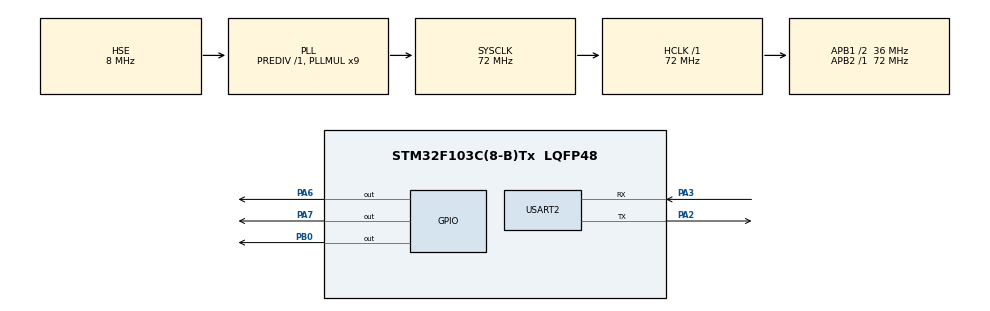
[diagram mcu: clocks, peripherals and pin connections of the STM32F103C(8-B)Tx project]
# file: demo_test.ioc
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Dma.Request0=USART2_RX
Dma.Request1=USART2_TX
Dma.USART2_RX.0.Direction=DMA_PERIPH_TO_MEMORY
Dma.USART2_RX.0.Instance=DMA1_Channel6
Dma.USART2_RX.0.MemDataAlignment=DMA_MDATAALIGN_BYTE
Dma.USART2_RX.0.MemInc=DMA_MINC_ENABLE
Dma.USART2_RX.0.Mode=DMA_NORMAL
Dma.USART2_RX.0.PeriphDataAlignment=DMA_PDATAALIGN_BYTE
Dma.USART2_RX.0.PeriphInc=DMA_PINC_DISABLE
Dma.USART2_RX.0.Priority=DMA_PRIORITY_LOW
Dma.USART2_TX.1.Direction=DMA_MEMORY_TO_PERIPH
Dma.USART2_TX.1.Instance=DMA1_Channel7
Dma.USART2_TX.1.MemDataAlignment=DMA_MDATAALIGN_BYTE
Dma.USART2_TX.1.MemInc=DMA_MINC_ENABLE
Dma.USART2_TX.1.Mode=DMA_NORMAL
Dma.USART2_TX.1.PeriphDataAlignment=DMA_PDATAALIGN_BYTE
Dma.USART2_TX.1.PeriphInc=DMA_PINC_DISABLE
Dma.USART2_TX.1.Priority=DMA_PRIORITY_LOW
Mcu.Family=STM32F1
Mcu.Name=STM32F103C(8-B)Tx
Mcu.Package=LQFP48
NVIC.DMA1_Channel6_IRQn=true\:0\:0\:false\:false\:true\:false\:true\:true
NVIC.DMA1_Channel7_IRQn=true\:0\:0\:false\:false\:true\:false\:true\:true
NVIC.PriorityGroup=NVIC_PRIORITYGROUP_4
NVIC.USART2_IRQn=true\:0\:0\:false\:false\:true\:false\:true\:true
PA13.Mode=Serial_Wire
PA13.Signal=SYS_JTMS-SWDIO
PA14.Mode=Serial_Wire
PA14.Signal=SYS_JTCK-SWCLK
PA2.Mode=Asynchronous
PA2.Signal=USART2_TX
PA3.Mode=Asynchronous
PA3.Signal=USART2_RX
PA6.Signal=GPIO_Output
PA7.Signal=GPIO_Output
PB0.Signal=GPIO_Output
PD0-OSC_IN.Mode=HSE-External-Oscillator
PD0-OSC_IN.Signal=RCC_OSC_IN
PD1-OSC_OUT.Mode=HSE-External-Oscillator
PD1-OSC_OUT.Signal=RCC_OSC_OUT
ProjectManager.HeapSize=0x200
ProjectManager.StackSize=0x400
ProjectManager.TargetToolchain=MDK-ARM V5.32
RCC.AHBFreq_Value=72000000
RCC.APB1CLKDivider=RCC_HCLK_DIV2
RCC.APB1Freq_Value=36000000
RCC.APB1TimFreq_Value=72000000
RCC.APB2Freq_Value=72000000
RCC.APB2TimFreq_Value=72000000
RCC.HCLKFreq_Value=72000000
RCC.PLLMUL=RCC_PLL_MUL9
RCC.PLLSourceVirtual=RCC_PLLSOURCE_HSE
RCC.SYSCLKFreq_VALUE=72000000
RCC.SYSCLKSource=RCC_SYSCLKSOURCE_PLLCLK
RCC.USBFreq_Value=72000000
USART2.VirtualMode=VM_ASYNC
board=custom

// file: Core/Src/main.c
/* USER CODE BEGIN Header */
/**
  ******************************************************************************
  * @file           : main.c
  * @brief          : Main program body
  ******************************************************************************
  * @attention
  *
  * Copyright (c) 2025 STMicroelectronics.
  * All rights reserved.
  *
  * This software is licensed under terms that can be found in the LICENSE file
  * in the root directory of this software component.
  * If no LICENSE file comes with this software, it is provided AS-IS.
  *
  ******************************************************************************
  */
/* USER CODE END Header */
#include "main.h"
#include "dma.h"
#include "usart.h"
#include "gpio.h"

/* USER CODE BEGIN Includes */
#include "stdio.h"
#include "string.h"
/* USER CODE END Includes */

void SystemClock_Config(void);
/* USER CODE BEGIN PFP */
//uint8_t receiveData[2];
uint8_t receiveData[50];
/* USER CODE END PFP */

/* USER CODE BEGIN 0 */

void HAL_UART_RxCpltCallback(UART_HandleTypeDef *huart)
{
    if(huart == &huart2)
    {
        // �ش����յ�������
        HAL_UART_Transmit_DMA(&huart2, receiveData,sizeof(receiveData));

        GPIO_PinState state = GPIO_PIN_SET;
      for(int i = 0; i < 6; i += 2)
        {
            char color = receiveData[i];     // 颜色字符: R, B, G
            char state = receiveData[i+1];   // 状态字符: 0或1

            GPIO_PinState pinState = (state == '1') ? GPIO_PIN_SET : GPIO_PIN_RESET;

            switch(color)
            {
                case 'R':
                    HAL_GPIO_WritePin(GPIOA, GPIO_PIN_6, pinState);
                    break;
                case 'B':
                    HAL_GPIO_WritePin(GPIOA, GPIO_PIN_7, pinState);
                    break;
                case 'G':
                    HAL_GPIO_WritePin(GPIOB, GPIO_PIN_0, pinState);
                    break;
                default:
                    // 无效的颜色字符，忽略
                    break;
            }
        }

        // ��������DMA����
       HAL_UART_Receive_DMA(&huart2, receiveData, sizeof(receiveData));
        __HAL_DMA_DISABLE_IT(&hdma_usart2_rx, DMA_IT_HT);
    }
}
/* USER CODE END 0 */

int main(void)
{

  /* MCU Configuration--------------------------------------------------------*/

  /* Reset of all peripherals, Initializes the Flash interface and the Systick. */
  HAL_Init();

  /* Configure the system clock */
  SystemClock_Config();

  /* Initialize all configured peripherals */
  MX_GPIO_Init();
  MX_DMA_Init();
  MX_USART2_UART_Init();
  /* USER CODE BEGIN 2 */
 //HAL_UART_Receive_DMA(&huart2,receiveData,2);
 HAL_UART_Receive_DMA(&huart2,receiveData,sizeof(receiveData));
 __HAL_DMA_DISABLE_IT(&hdma_usart2_rx,DMA_IT_HT);
  /* USER CODE END 2 */

  /* Infinite loop */
  while (1)
  {

  }
}

void SystemClock_Config(void)
{
  RCC_OscInitTypeDef RCC_OscInitStruct = {0};
  RCC_ClkInitTypeDef RCC_ClkInitStruct = {0};

  /** Initializes the RCC Oscillators according to the specified parameters
  * in the RCC_OscInitTypeDef structure.
  */
  RCC_OscInitStruct.OscillatorType = RCC_OSCILLATORTYPE_HSE;
  RCC_OscInitStruct.HSEState = RCC_HSE_ON;
  RCC_OscInitStruct.HSEPredivValue = RCC_HSE_PREDIV_DIV1;
  RCC_OscInitStruct.HSIState = RCC_HSI_ON;
  RCC_OscInitStruct.PLL.PLLState = RCC_PLL_ON;
  RCC_OscInitStruct.PLL.PLLSource = RCC_PLLSOURCE_HSE;
  RCC_OscInitStruct.PLL.PLLMUL = RCC_PLL_MUL9;
  if (HAL_RCC_OscConfig(&RCC_OscInitStruct) != HAL_OK)
  {
    Error_Handler();
  }

  /** Initializes the CPU, AHB and APB buses clocks
  */
  RCC_ClkInitStruct.ClockType = RCC_CLOCKTYPE_HCLK|RCC_CLOCKTYPE_SYSCLK
                              |RCC_CLOCKTYPE_PCLK1|RCC_CLOCKTYPE_PCLK2;
  RCC_ClkInitStruct.SYSCLKSource = RCC_SYSCLKSOURCE_PLLCLK;
  RCC_ClkInitStruct.AHBCLKDivider = RCC_SYSCLK_DIV1;
  RCC_ClkInitStruct.APB1CLKDivider = RCC_HCLK_DIV2;
  RCC_ClkInitStruct.APB2CLKDivider = RCC_HCLK_DIV1;

  if (HAL_RCC_ClockConfig(&RCC_ClkInitStruct, FLASH_LATENCY_2) != HAL_OK)
  {
    Error_Handler();
  }
}

void Error_Handler(void)
{
  __disable_irq();
  while (1)
  {
  }
}
